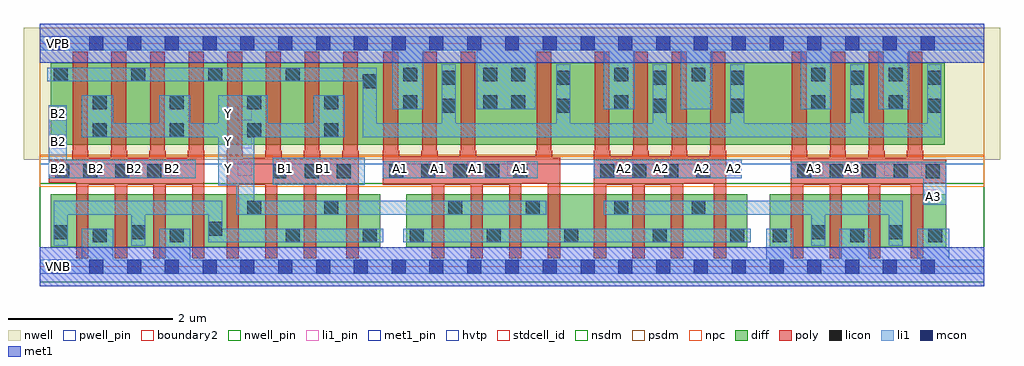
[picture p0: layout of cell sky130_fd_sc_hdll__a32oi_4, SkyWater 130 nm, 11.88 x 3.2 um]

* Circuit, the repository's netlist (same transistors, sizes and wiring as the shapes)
* Copyright 2020 The SkyWater PDK Authors
*
* Licensed under the Apache License, Version 2.0 (the "License");
* you may not use this file except in compliance with the License.
* You may obtain a copy of the License at
*
*     https://www.apache.org/licenses/LICENSE-2.0
*
* Unless required by applicable law or agreed to in writing, software
* distributed under the License is distributed on an "AS IS" BASIS,
* WITHOUT WARRANTIES OR CONDITIONS OF ANY KIND, either express or implied.
* See the License for the specific language governing permissions and
* limitations under the License.
*
* SPDX-License-Identifier: Apache-2.0

.SUBCKT sky130_fd_sc_hdll__a32oi_4 A1 A2 A3 B1 B2 VGND VNB VPB VPWR Y
*.PININFO A1:I A2:I A3:I B1:I B2:I VGND:I VNB:I VPB:I VPWR:I Y:O
MMPA0 pndA A1 VPWR VPB sky130_fd_pr__pfet_01v8_hvt m=4 w=1.0U l=0.18U mult=1 sa=0.265
+ sb=0.265 sd=0.28 area=0.063 perim=1.14
MMPA1 pndA A2 VPWR VPB sky130_fd_pr__pfet_01v8_hvt m=4 w=1.0U l=0.18U mult=1 sa=0.265
+ sb=0.265 sd=0.28 area=0.063 perim=1.14
MMPA2 pndA A3 VPWR VPB sky130_fd_pr__pfet_01v8_hvt m=4 w=1.0U l=0.18U mult=1 sa=0.265
+ sb=0.265 sd=0.28 area=0.063 perim=1.14
MMPB0 Y B1 pndA VPB sky130_fd_pr__pfet_01v8_hvt m=4 w=1.0U l=0.18U mult=1 sa=0.265
+ sb=0.265 sd=0.28 area=0.063 perim=1.14
MMPB1 Y B2 pndA VPB sky130_fd_pr__pfet_01v8_hvt m=4 w=1.0U l=0.18U mult=1 sa=0.265
+ sb=0.265 sd=0.28 area=0.063 perim=1.14
MMNA0 Y A1 sndA1 VNB sky130_fd_pr__nfet_01v8 m=4 w=0.65U l=0.15U mult=1 sa=0.265
+ sb=0.265 sd=0.28 area=0.063 perim=1.14
MMNA1 sndA1 A2 sndA2 VNB sky130_fd_pr__nfet_01v8 m=4 w=0.65U l=0.15U mult=1 sa=0.265
+ sb=0.265 sd=0.28 area=0.063 perim=1.14
MMNA2 sndA2 A3 VGND VNB sky130_fd_pr__nfet_01v8 m=4 w=0.65U l=0.15U mult=1 sa=0.265
+ sb=0.265 sd=0.28 area=0.063 perim=1.14
MMNB0 Y B1 sndB1 VNB sky130_fd_pr__nfet_01v8 m=4 w=0.65U l=0.15U mult=1 sa=0.265
+ sb=0.265 sd=0.28 area=0.063 perim=1.14
MMNB1 sndB1 B2 VGND VNB sky130_fd_pr__nfet_01v8 m=4 w=0.65U l=0.15U mult=1 sa=0.265
+ sb=0.265 sd=0.28 area=0.063 perim=1.14
.ENDS sky130_fd_sc_hdll__a32oi_4

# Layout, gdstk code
import gdstk
lib = gdstk.Library(unit=1e-6, precision=1e-09)
def R(c, l, rs):  # rectangles x0, y0, x1, y1
    for r in rs: c.add(gdstk.rectangle(r[:2], r[2:], *l))
def A(c, l, x, y, w, h, nx, ny, dx, dy):  # array of equal rectangles
    R(c, l, [(x+i*dx, y+j*dy, x+i*dx+w, y+j*dy+h) for i in range(nx) for j in range(ny)])
def P(c, l, *ps):  # polygons
    for p in ps: c.add(gdstk.Polygon(p, *l))
nwell_pin = (64, 16)
nwell = (64, 20)
diff = (65, 20)
poly = (66, 20)
licon = (66, 44)
li1_pin = (67, 16)
li1 = (67, 20)
mcon = (67, 44)
met1_pin = (68, 16)
met1 = (68, 20)
hvtp = (78, 44)
stdcell_id = (81, 4)
nsdm = (93, 44)
psdm = (94, 20)
npc = (95, 20)
pwell_pin = (122, 16)
boundary2 = (236, 0)

sky130_fd_sc_hdll__a32oi = lib.new_cell('sky130_fd_sc_hdll__a32oi_4')
R(sky130_fd_sc_hdll__a32oi, nwell_pin, [(0.15,2.635,0.32,2.805), (0.15,2.635,0.32,2.805)])
R(sky130_fd_sc_hdll__a32oi, nwell, [(-0.19,1.305,11.69,2.91)])
R(sky130_fd_sc_hdll__a32oi, diff, [(0.135,0.235,4.145,0.885), (4.465,0.235,8.615,0.885), (8.885,0.235,11.035,0.885), (0.135,1.485,11.015,2.485)])
P(sky130_fd_sc_hdll__a32oi, poly, [(2.005,1.41),(1.995,1.41),(1.995,2.615),(1.815,2.615),(1.815,1.41),(1.805,1.41),(1.805,1.325),(1.535,1.325),(1.535,1.41),(1.525,1.41),(1.525,2.615),(1.345,2.615),(1.345,1.41),(1.335,1.41),(1.335,1.325),(1.065,1.325),(1.065,1.41),(1.055,1.41),(1.055,2.615),(0.875,2.615),(0.875,1.41),(0.865,1.41),(0.865,1.325),(0.595,1.325),(0.595,1.41),(0.585,1.41),(0.585,2.615),(0.405,2.615),(0.405,1.41),(0.395,1.41),(0.395,1.305),(0.11,1.305),(0.11,1.025),(0.445,1.025),(0.445,0.105),(0.595,0.105),(0.595,0.995),(0.915,0.995),(0.915,0.105),(1.065,0.105),(1.065,0.995),(1.385,0.995),(1.385,0.105),(1.535,0.105),(1.535,0.995),(1.855,0.995),(1.855,0.105),(2.005,0.105)],
  [(3.885,1.41),(3.875,1.41),(3.875,2.615),(3.695,2.615),(3.695,1.41),(3.685,1.41),(3.685,1.325),(3.415,1.325),(3.415,1.41),(3.405,1.41),(3.405,2.615),(3.225,2.615),(3.225,1.41),(3.215,1.41),(3.215,1.325),(2.945,1.325),(2.945,1.41),(2.935,1.41),(2.935,2.615),(2.755,2.615),(2.755,1.41),(2.745,1.41),(2.745,1.325),(2.475,1.325),(2.475,1.41),(2.465,1.41),(2.465,2.615),(2.285,2.615),(2.285,1.41),(2.275,1.41),(2.275,0.105),(2.425,0.105),(2.425,0.995),(2.745,0.995),(2.745,0.105),(2.895,0.105),(2.895,0.995),(3.215,0.995),(3.215,0.105),(3.365,0.105),(3.365,0.995),(3.735,0.995),(3.735,0.105),(3.885,0.105)],
  [(6.335,1.325),(6.24,1.325),(6.24,1.41),(6.23,1.41),(6.23,2.615),(6.05,2.615),(6.05,1.41),(6.04,1.41),(6.04,1.345),(5.315,1.345),(5.315,1.41),(5.305,1.41),(5.305,2.615),(5.125,2.615),(5.125,1.41),(5.115,1.41),(5.115,1.345),(4.845,1.345),(4.845,1.41),(4.835,1.41),(4.835,2.615),(4.655,2.615),(4.655,1.41),(4.645,1.41),(4.645,1.345),(4.375,1.345),(4.375,1.41),(4.365,1.41),(4.365,2.615),(4.185,2.615),(4.185,1.41),(4.175,1.41),(4.175,0.995),(4.775,0.995),(4.775,0.105),(4.925,0.105),(4.925,0.995),(5.245,0.995),(5.245,0.105),(5.395,0.105),(5.395,0.995),(5.715,0.995),(5.715,0.105),(5.865,0.105),(5.865,1.01),(6.185,1.01),(6.185,0.105),(6.335,0.105)],
  [(8.355,1.41),(8.345,1.41),(8.345,2.615),(8.165,2.615),(8.165,1.41),(8.155,1.41),(8.155,1.345),(7.885,1.345),(7.885,1.41),(7.875,1.41),(7.875,2.615),(7.695,2.615),(7.695,1.41),(7.685,1.41),(7.685,1.345),(7.415,1.345),(7.415,1.41),(7.405,1.41),(7.405,2.615),(7.225,2.615),(7.225,1.41),(7.215,1.41),(7.215,1.345),(6.945,1.345),(6.945,1.41),(6.935,1.41),(6.935,2.615),(6.755,2.615),(6.755,1.41),(6.745,1.41),(6.745,0.105),(6.895,0.105),(6.895,0.995),(7.215,0.995),(7.215,0.105),(7.365,0.105),(7.365,0.995),(7.685,0.995),(7.685,0.105),(7.835,0.105),(7.835,1.01),(8.205,1.01),(8.205,0.105),(8.355,0.105)],
  [(11.035,1.305),(10.755,1.305),(10.755,1.41),(10.745,1.41),(10.745,2.615),(10.565,2.615),(10.565,1.41),(10.555,1.41),(10.555,1.325),(10.285,1.325),(10.285,1.41),(10.275,1.41),(10.275,2.615),(10.095,2.615),(10.095,1.41),(10.085,1.41),(10.085,1.325),(9.815,1.325),(9.815,1.41),(9.805,1.41),(9.805,2.615),(9.625,2.615),(9.625,1.41),(9.615,1.41),(9.615,1.325),(9.345,1.325),(9.345,1.41),(9.335,1.41),(9.335,2.615),(9.155,2.615),(9.155,1.41),(9.145,1.41),(9.145,0.105),(9.295,0.105),(9.295,0.995),(9.615,0.995),(9.615,0.105),(9.765,0.105),(9.765,0.995),(10.085,0.995),(10.085,0.105),(10.235,0.105),(10.235,0.995),(10.605,0.995),(10.605,0.105),(10.755,0.105),(10.755,1.015),(11.035,1.015)])
A(sky130_fd_sc_hdll__a32oi, licon, 4.505, 0.295, 0.17, 0.17, 3, 1, 0.94, 0)
A(sky130_fd_sc_hdll__a32oi, licon, 0.53, 1.075, 0.17, 0.17, 3, 1, 0.39, 0)
A(sky130_fd_sc_hdll__a32oi, licon, 2.835, 1.075, 0.17, 0.17, 3, 1, 0.39, 0)
A(sky130_fd_sc_hdll__a32oi, licon, 4.255, 1.075, 0.17, 0.17, 4, 1, 0.39, 0)
A(sky130_fd_sc_hdll__a32oi, licon, 6.825, 1.075, 0.17, 0.17, 4, 1, 0.39, 0)
A(sky130_fd_sc_hdll__a32oi, licon, 9.225, 1.075, 0.17, 0.17, 5, 1, 0.39, 0)
A(sky130_fd_sc_hdll__a32oi, licon, 0.645, 1.575, 0.17, 0.17, 4, 2, 0.94, 0.34)
A(sky130_fd_sc_hdll__a32oi, licon, 0.175, 2.255, 0.17, 0.17, 4, 1, 0.94, 0)
R(sky130_fd_sc_hdll__a32oi, licon, [(0.645,0.295,0.815,0.465), (1.585,0.295,1.755,0.465), (2.995,0.295,3.165,0.465), (3.935,0.295,4.105,0.465), (7.465,0.295,7.635,0.465), (8.405,0.295,8.575,0.465), (8.925,0.295,9.095,0.465), (9.865,0.295,10.035,0.465), (10.815,0.295,10.985,0.465), (0.175,0.335,0.345,0.505), (1.115,0.335,1.285,0.505), (9.395,0.335,9.565,0.505), (10.335,0.335,10.505,0.505), (2.055,0.375,2.225,0.545), (2.525,0.635,2.695,0.805), (3.465,0.635,3.635,0.805), (4.975,0.635,5.145,0.805), (5.915,0.635,6.085,0.805), (6.995,0.635,7.165,0.805), (7.935,0.635,8.105,0.805), (0.19,1.075,0.36,1.245), (5.765,1.075,5.935,1.245), (4.895,1.875,5.065,2.045), (6.29,1.875,6.46,2.045), (7.465,1.875,7.635,2.045), (8.405,1.875,8.575,2.045), (9.865,1.875,10.035,2.045), (10.805,1.875,10.975,2.045), (4.425,1.915,4.595,2.085), (5.4,1.915,5.57,2.085), (5.74,1.915,5.91,2.085), (6.995,1.915,7.165,2.085), (9.395,1.915,9.565,2.085), (10.335,1.915,10.505,2.085), (3.935,2.175,4.105,2.345), (4.895,2.215,5.065,2.385), (6.29,2.215,6.46,2.385), (7.465,2.215,7.635,2.385), (8.405,2.215,8.575,2.385), (9.865,2.215,10.035,2.385), (10.805,2.215,10.975,2.385), (4.425,2.255,4.595,2.425), (5.4,2.255,5.57,2.425), (5.74,2.255,5.91,2.425), (6.995,2.255,7.165,2.425), (7.935,2.255,8.105,2.425), (9.395,2.255,9.565,2.425), (10.335,2.255,10.505,2.425)])
A(sky130_fd_sc_hdll__a32oi, li1_pin, 0.15, 1.105, 0.17, 0.17, 1, 3, 0, 0.34)
A(sky130_fd_sc_hdll__a32oi, li1_pin, 0.615, 1.105, 0.17, 0.17, 3, 1, 0.455, 0)
A(sky130_fd_sc_hdll__a32oi, li1_pin, 2.41, 1.105, 0.17, 0.17, 1, 3, 0, 0.34)
R(sky130_fd_sc_hdll__a32oi, li1_pin, [(10.765,0.765,10.935,0.935), (2.905,1.105,3.075,1.275), (3.365,1.105,3.535,1.275), (4.295,1.105,4.465,1.275), (4.735,1.105,4.905,1.275), (5.205,1.105,5.375,1.275), (5.69,1.105,5.86,1.275), (7.01,1.105,7.23,1.275), (7.49,1.105,7.66,1.275), (7.98,1.105,8.15,1.275), (8.365,1.105,8.535,1.275), (9.32,1.105,9.54,1.275), (9.84,1.105,10.01,1.275), (10.28,1.105,10.45,1.275), (10.73,1.105,10.9,1.275)])
R(sky130_fd_sc_hdll__a32oi, li1, [(4.425,0.295,8.655,0.465), (2.835,0.995,3.955,1.325), (4.175,1.075,6.065,1.285), (6.745,1.075,8.545,1.3)])
P(sky130_fd_sc_hdll__a32oi, li1, [(11.5,0.085),(11.075,0.085),(11.075,0.465),(10.685,0.465),(10.685,0.085),(10.115,0.085),(10.115,0.465),(9.735,0.465),(9.735,0.085),(9.175,0.085),(9.175,0.465),(8.845,0.465),(8.845,0.085),(1.835,0.085),(1.835,0.465),(1.455,0.465),(1.455,0.085),(0.895,0.085),(0.895,0.465),(0.515,0.465),(0.515,0.085),(0,0.085),(0,-0.085),(11.5,-0.085)],
  [(11.5,2.805),(0,2.805),(0,2.635),(4.295,2.635),(4.295,1.915),(4.675,1.915),(4.675,2.635),(5.32,2.635),(5.32,1.915),(6.04,1.915),(6.04,2.635),(6.865,2.635),(6.865,1.915),(7.245,1.915),(7.245,2.635),(7.805,2.635),(7.805,1.915),(8.185,1.915),(8.185,2.635),(9.265,2.635),(9.265,1.915),(9.645,1.915),(9.645,2.635),(10.205,2.635),(10.205,1.915),(10.585,1.915),(10.585,2.635),(11.5,2.635)],
  [(10.505,0.805),(6.865,0.805),(6.865,0.635),(9.395,0.635),(9.395,0.255),(9.565,0.255),(9.565,0.635),(10.335,0.635),(10.335,0.255),(10.505,0.255)],
  [(10.975,2.465),(10.805,2.465),(10.805,1.745),(10.035,1.745),(10.035,2.465),(9.865,2.465),(9.865,1.745),(8.575,1.745),(8.575,2.465),(8.405,2.465),(8.405,1.745),(7.635,1.745),(7.635,2.465),(7.465,2.465),(7.465,1.745),(6.46,1.745),(6.46,2.465),(6.29,2.465),(6.29,1.745),(5.065,1.745),(5.065,2.465),(4.895,2.465),(4.895,1.745),(4.105,1.745),(4.105,2.425),(0.095,2.425),(0.095,2.255),(3.935,2.255),(3.935,1.575),(10.975,1.575)],
  [(6.165,0.805),(2.615,0.805),(2.615,1.575),(3.715,1.575),(3.715,2.085),(3.335,2.085),(3.335,1.745),(2.775,1.745),(2.775,2.085),(2.175,2.085),(2.175,1.745),(1.835,1.745),(1.835,2.085),(1.455,2.085),(1.455,1.745),(0.895,1.745),(0.895,2.085),(0.515,2.085),(0.515,1.575),(2.175,1.575),(2.175,0.99),(2.395,0.99),(2.395,0.635),(6.165,0.635)],
  [(1.9,1.305),(0.33,1.305),(0.33,1.965),(0.11,1.965),(0.11,1.075),(1.9,1.075)],
  [(4.185,0.465),(2.225,0.465),(2.225,0.805),(0.175,0.805),(0.175,0.255),(0.345,0.255),(0.345,0.635),(1.115,0.635),(1.115,0.255),(1.285,0.255),(1.285,0.635),(2.055,0.635),(2.055,0.295),(4.185,0.295)],
  [(11.035,1.28),(9.145,1.28),(9.145,1.075),(10.755,1.075),(10.755,0.755),(11.035,0.755)])
A(sky130_fd_sc_hdll__a32oi, mcon, 0.145, -0.085, 0.17, 0.17, 24, 2, 0.46, 2.72)
R(sky130_fd_sc_hdll__a32oi, met1_pin, [(0.15,-0.085,0.32,0.085), (0.15,-0.085,0.32,0.085), (0.15,2.635,0.32,2.805), (0.15,2.635,0.32,2.805)])
R(sky130_fd_sc_hdll__a32oi, met1, [(0,-0.24,11.5,0.24), (0,2.48,11.5,2.96)])
R(sky130_fd_sc_hdll__a32oi, hvtp, [(0,1.25,11.5,2.72)])
R(sky130_fd_sc_hdll__a32oi, stdcell_id, [(0,0,11.5,2.72)])
R(sky130_fd_sc_hdll__a32oi, nsdm, [(0,-0.19,11.5,1.015)])
R(sky130_fd_sc_hdll__a32oi, psdm, [(0,1.355,11.5,2.91)])
R(sky130_fd_sc_hdll__a32oi, npc, [(0,0.975,11.5,1.345)])
R(sky130_fd_sc_hdll__a32oi, pwell_pin, [(0.15,-0.085,0.32,0.085), (0.15,-0.085,0.32,0.085)])
R(sky130_fd_sc_hdll__a32oi, boundary2, [(0,0,11.5,2.72)])
sky130_fd_sc_hdll__a32oi.add(gdstk.Label('A3', (9.895,1.19), layer=67, texttype=5))
sky130_fd_sc_hdll__a32oi.add(gdstk.Label('A3', (9.435,1.19), layer=67, texttype=5))
sky130_fd_sc_hdll__a32oi.add(gdstk.Label('A2', (8.455,1.19), layer=67, texttype=5))
sky130_fd_sc_hdll__a32oi.add(gdstk.Label('A2', (7.575,1.19), layer=67, texttype=5))
sky130_fd_sc_hdll__a32oi.add(gdstk.Label('A2', (7.115,1.19), layer=67, texttype=5))
sky130_fd_sc_hdll__a32oi.add(gdstk.Label('A2', (8.065,1.19), layer=67, texttype=5))
sky130_fd_sc_hdll__a32oi.add(gdstk.Label('A1', (4.855,1.19), layer=67, texttype=5))
sky130_fd_sc_hdll__a32oi.add(gdstk.Label('A1', (4.395,1.19), layer=67, texttype=5))
sky130_fd_sc_hdll__a32oi.add(gdstk.Label('A1', (5.855,1.19), layer=67, texttype=5))
sky130_fd_sc_hdll__a32oi.add(gdstk.Label('A3', (10.875,0.85), layer=67, texttype=5))
sky130_fd_sc_hdll__a32oi.add(gdstk.Label('B1', (3.455,1.19), layer=67, texttype=5))
sky130_fd_sc_hdll__a32oi.add(gdstk.Label('Y', (2.295,1.87), layer=67, texttype=5))
sky130_fd_sc_hdll__a32oi.add(gdstk.Label('B2', (0.235,1.19), layer=67, texttype=5))
sky130_fd_sc_hdll__a32oi.add(gdstk.Label('B2', (1.155,1.19), layer=67, texttype=5))
sky130_fd_sc_hdll__a32oi.add(gdstk.Label('B2', (0.695,1.19), layer=67, texttype=5))
sky130_fd_sc_hdll__a32oi.add(gdstk.Label('B2', (0.235,1.53), layer=67, texttype=5))
sky130_fd_sc_hdll__a32oi.add(gdstk.Label('B2', (0.235,1.87), layer=67, texttype=5))
sky130_fd_sc_hdll__a32oi.add(gdstk.Label('B2', (1.615,1.19), layer=67, texttype=5))
sky130_fd_sc_hdll__a32oi.add(gdstk.Label('Y', (2.295,1.19), layer=67, texttype=5))
sky130_fd_sc_hdll__a32oi.add(gdstk.Label('Y', (2.295,1.53), layer=67, texttype=5))
sky130_fd_sc_hdll__a32oi.add(gdstk.Label('B1', (2.995,1.19), layer=67, texttype=5))
sky130_fd_sc_hdll__a32oi.add(gdstk.Label('A1', (5.315,1.19), layer=67, texttype=5))
sky130_fd_sc_hdll__a32oi.add(gdstk.Label('VNB', (0.235,0), layer=64, texttype=59))
sky130_fd_sc_hdll__a32oi.add(gdstk.Label('VNB', (0.235,0), layer=64, texttype=59))
sky130_fd_sc_hdll__a32oi.add(gdstk.Label('VPB', (0.235,2.72), layer=64, texttype=5))
sky130_fd_sc_hdll__a32oi.add(gdstk.Label('VPB', (0.235,2.72), layer=64, texttype=5))
sky130_fd_sc_hdll__a32oi.add(gdstk.Label('VGND', (0.23,0), layer=68, texttype=5))
sky130_fd_sc_hdll__a32oi.add(gdstk.Label('VGND', (0.23,0), layer=68, texttype=5))
sky130_fd_sc_hdll__a32oi.add(gdstk.Label('VPWR', (0.23,2.72), layer=68, texttype=5))
sky130_fd_sc_hdll__a32oi.add(gdstk.Label('VPWR', (0.23,2.72), layer=68, texttype=5))

lib.write_gds('sky130_fd_sc_hdll__a32oi_4.gds')
